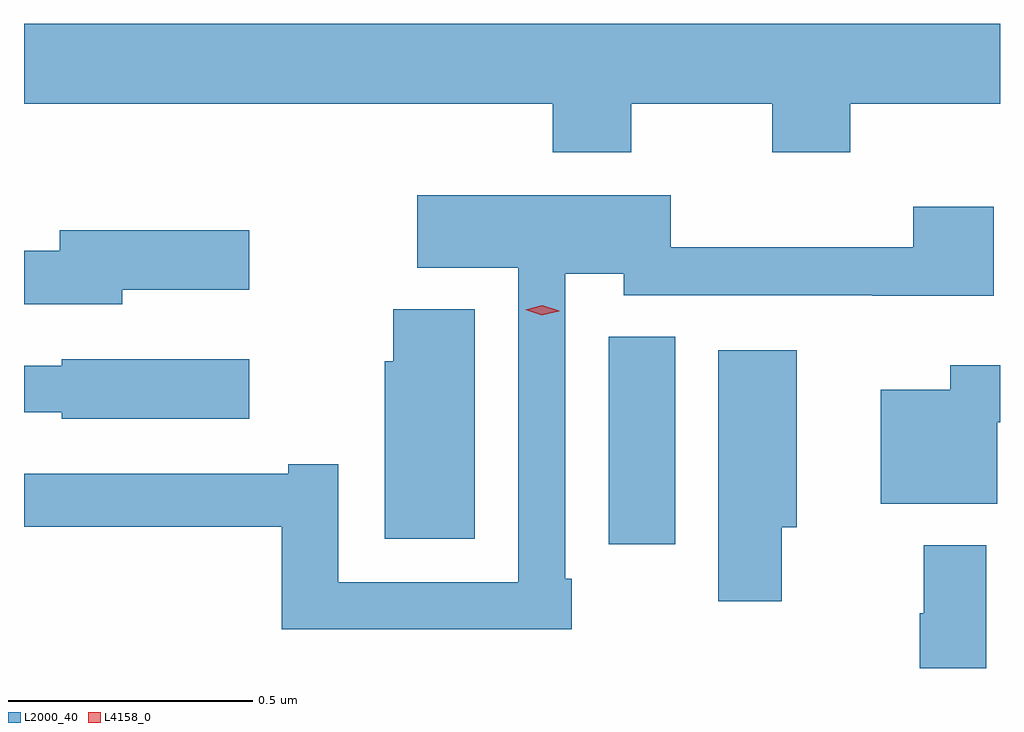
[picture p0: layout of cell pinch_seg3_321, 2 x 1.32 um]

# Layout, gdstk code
import gdstk
lib = gdstk.Library(unit=1e-6, precision=1e-09)
def R(c, l, rs):  # rectangles x0, y0, x1, y1
    for r in rs: c.add(gdstk.rectangle(r[:2], r[2:], *l))
def P(c, l, *ps):  # polygons
    for p in ps: c.add(gdstk.Polygon(p, *l))
L2000_40 = (2000, 40)
L4158_0 = (4158, 0)

pinch_seg3_321 = lib.new_cell('pinch_seg3_321')
R(pinch_seg3_321, L2000_40, [(990.755,717.33,990.892,717.755)])
P(pinch_seg3_321, L2000_40, [(990.801,718.232),(991.09,718.232),(991.09,718.133),(991.25,718.133),(991.25,718.232),(991.557,718.232),(991.557,718.396),(989.557,718.396),(989.557,718.232),(990.641,718.232),(990.641,718.133),(990.801,718.133)],
  [(990.679,717.259),(990.666,717.259),(990.666,717.884),(990.786,717.884),(990.786,717.84),(991.295,717.84),(991.295,717.839),(991.544,717.839),(991.544,718.021),(991.379,718.021),(991.379,717.938),(990.882,717.938),(990.882,718.045),(990.363,718.045),(990.363,717.896),(990.57,717.896),(990.57,717.252),(990.201,717.252),(990.201,717.494),(990.098,717.494),(990.098,717.474),(989.557,717.474),(989.557,717.366),(990.085,717.366),(990.085,717.156),(990.679,717.156)],
  [(989.758,717.851),(990.019,717.851),(990.019,717.973),(989.63,717.973),(989.63,717.931),(989.557,717.931),(989.557,717.822),(989.758,717.822)],
  [(990.481,717.811),(990.314,717.811),(990.314,717.705),(990.296,717.705),(990.296,717.341),(990.481,717.341)],
  [(991.11,717.365),(991.141,717.365),(991.141,717.727),(990.98,717.727),(990.98,717.213),(991.11,717.213)],
  [(990.019,717.709),(989.634,717.709),(989.634,717.696),(989.557,717.696),(989.557,717.6),(989.634,717.6),(989.634,717.587),(990.019,717.587)],
  [(991.551,717.58),(991.557,717.58),(991.557,717.697),(991.455,717.697),(991.455,717.646),(991.313,717.646),(991.313,717.413),(991.551,717.413)],
  [(991.529,717.328),(991.401,717.328),(991.401,717.188),(991.393,717.188),(991.393,717.076),(991.529,717.076)])
P(pinch_seg3_321, L4158_0, [(990.618,717.799),(990.584,717.81),(990.584,717.81),(990.584,717.81),(990.619,717.819),(990.654,717.808),(990.654,717.808),(990.654,717.807)])

lib.write_gds('pinch_seg3_321.gds')
